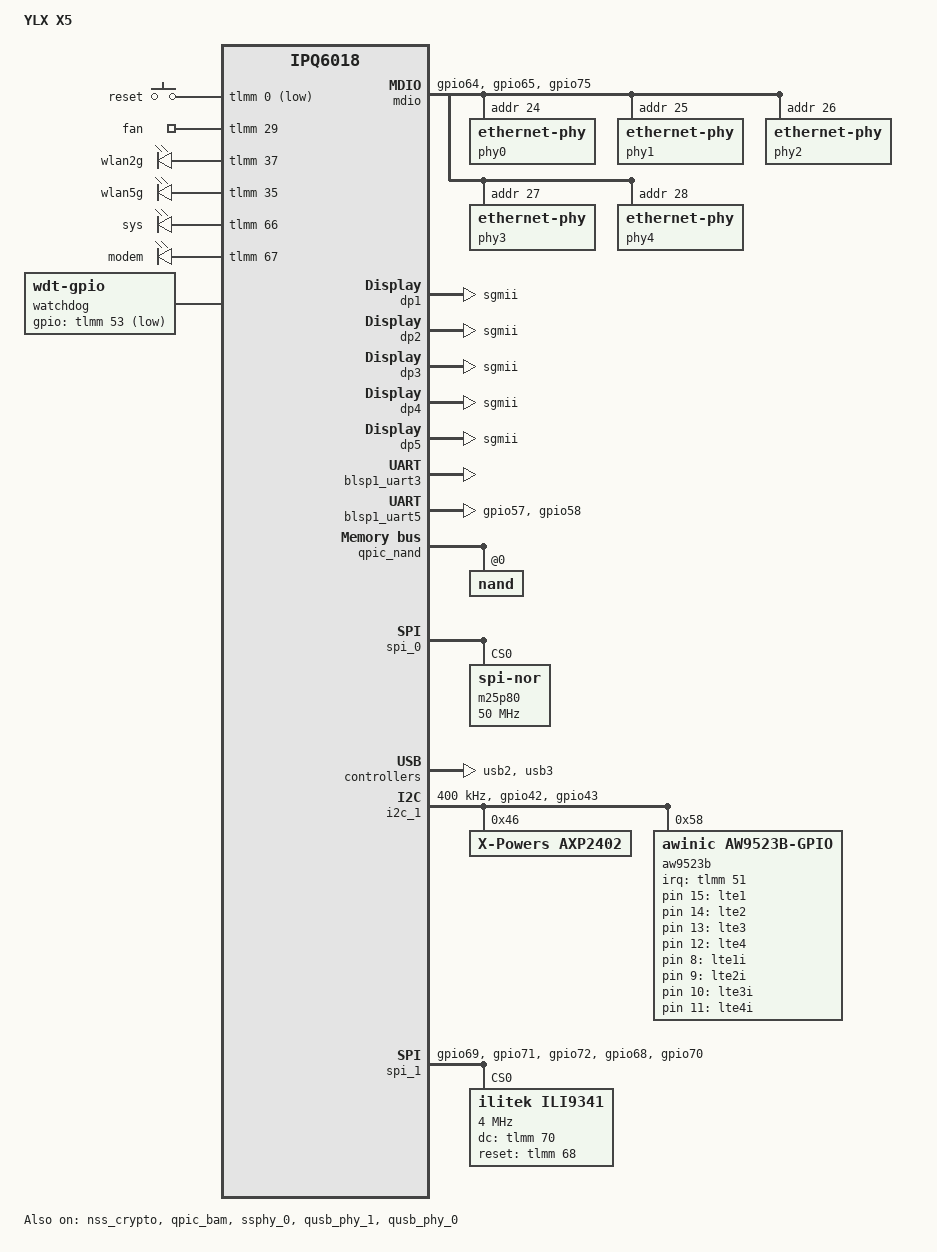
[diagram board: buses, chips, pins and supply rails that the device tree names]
// SPDX-License-Identifier: GPL-2.0-only
/* Copyright (c) 2020 The Linux Foundation. All rights reserved.
 */

/dts-v1/;

#include "ipq6018.dtsi"
#include <dt-bindings/input/input.h>

/ {
	#address-cells = <0x2>;
	#size-cells = <0x2>;
	model = "YLX X5";
	compatible = "ylx,x5", "qcom,ipq6018";
	interrupt-parent = <&intc>;
	qcom,msm-id = <0x1A5 0x0>;

	aliases {
		led-boot = &led_sys;
		led-failsafe = &led_sys;
		led-running = &led_sys;
		led-upgrade = &led_sys;
		serial0 = &blsp1_uart3;
		serial1 = &blsp1_uart2;
		serial2 = &blsp1_uart5;

		ethernet0 = "/soc/dp1";
		ethernet1 = "/soc/dp2";
		ethernet2 = "/soc/dp3";
		ethernet3 = "/soc/dp4";
		ethernet4 = "/soc/dp5";
	};

	chosen {
		stdout-path = "serial0:115200n8";
		bootargs-append = " root=/dev/ubiblock0_1 swiotlb=1 coherent_pool=2M";
	};

	soc {
		mdio:mdio@90000 {
			pinctrl-0 = <&mdio_pins>;
			pinctrl-names = "default";
			phy-reset-gpio = <&tlmm 75 0>;
			status = "ok";

			phy0: ethernet-phy@0 {
				reg = <24>;
			};
			phy1: ethernet-phy@1 {
				reg = <25>;
			};
			phy2: ethernet-phy@2 {
				reg = <26>;
			};
			phy3: ethernet-phy@3 {
				reg = <27>;
			};
			phy4: ethernet-phy@4 {
				reg = <28>;
			};
		};

		ess-switch@3a000000 {
			switch_cpu_bmp = <0x1>;  /* cpu port bitmap */
			switch_lan_bmp = <0x1e>; /* lan port bitmap */
			switch_wan_bmp = <0x20>; /* wan port bitmap */
			switch_inner_bmp = <0xc0>; /*inner port bitmap*/
			switch_mac_mode = <0x0>; /* mac mode for uniphy 0*/
			switch_mac_mode1 = <0xff>; /* mac mode for uniphy 1*/
			switch_mac_mode2 = <0xff>; /* mac mode for uniphy 2*/

			qcom,port_phyinfo {
				port@0 {
					port_id = <1>;
					phy_address = <24>;
				};
				port@1 {
					port_id = <2>;
					phy_address = <25>;
				};
				port@2 {
					port_id = <3>;
					phy_address = <26>;
				};
				port@3 {
					port_id = <4>;
					phy_address = <27>;
				};
				port@4 {
					port_id = <5>;
					phy_address = <28>;
				};
			};
		};

		dp1 {
			device_type = "network";
			compatible = "qcom,nss-dp";
			qcom,id = <1>;
			reg = <0x3a001000 0x200>;
			qcom,mactype = <0>;
			local-mac-address = [000000000000];
			qcom,link-poll = <1>;
			qcom,phy-mdio-addr = <24>;
			phy-mode = "sgmii";
		};

		dp2 {
			device_type = "network";
			compatible = "qcom,nss-dp";
			qcom,id = <2>;
			reg = <0x3a001200 0x200>;
			qcom,mactype = <0>;
			local-mac-address = [000000000000];
			qcom,link-poll = <1>;
			qcom,phy-mdio-addr = <25>;
			phy-mode = "sgmii";
		};

		dp3 {
			device_type = "network";
			compatible = "qcom,nss-dp";
			qcom,id = <3>;
			reg = <0x3a001400 0x200>;
			qcom,mactype = <0>;
			local-mac-address = [000000000000];
			qcom,link-poll = <1>;
			qcom,phy-mdio-addr = <26>;
			phy-mode = "sgmii";
		};

		dp4 {
			device_type = "network";
			compatible = "qcom,nss-dp";
			qcom,id = <4>;
			reg = <0x3a001600 0x200>;
			qcom,mactype = <0>;
			local-mac-address = [000000000000];
			qcom,link-poll = <1>;
			qcom,phy-mdio-addr = <27>;
			phy-mode = "sgmii";
		};

		dp5 {
			device_type = "network";
			compatible = "qcom,nss-dp";
			qcom,id = <5>;
			reg = <0x3a001800 0x200>;
			qcom,mactype = <0>;
			local-mac-address = [000000000000];
			qcom,link-poll = <1>;
			qcom,phy-mdio-addr = <28>;
			phy-mode = "sgmii";
		};

		gpio_keys {
			compatible = "gpio-keys";
			pinctrl-0 = <&button_pins>;
			pinctrl-names = "default";

			reset {
				label = "reset";
				linux,code = <KEY_RESTART>;
				gpios = <&tlmm 0 GPIO_ACTIVE_LOW>;
				linux,input-type = <1>;
				debounce-interval = <60>;
			};
		};

		gpio-export {
			compatible = "gpio-export";
			fan {
				label = "fan";
				gpio-export,name = "fan";
				gpio-export,output = <1>;
				gpios = <&tlmm 29 GPIO_ACTIVE_HIGH>;
			};
			lte1 {
				label = "lte1";
				gpio-export,name = "lte1";
				gpio-export,output = <1>;
				gpios = <&aw9523b 15 GPIO_ACTIVE_HIGH>;
			};
			lte2 {
				label = "lte2";
				gpio-export,name = "lte2";
				gpio-export,output = <1>;
				gpios = <&aw9523b 14 GPIO_ACTIVE_HIGH>;
			};
			lte3 {
				label = "lte3";
				gpio-export,name = "lte3";
				gpio-export,output = <1>;
				gpios = <&aw9523b 13 GPIO_ACTIVE_HIGH>;
			};
			lte4 {
				label = "lte4";
				gpio-export,name = "lte4";
				gpio-export,output = <1>;
				gpios = <&aw9523b 12 GPIO_ACTIVE_HIGH>;
			};
			lte1i {
				label = "lte1i";
				gpio-export,name = "lte1i";
				gpio-export,output = <1>;
				gpios = <&aw9523b 8 GPIO_ACTIVE_HIGH>;
			};
			lte2i {
				label = "lte2i";
				gpio-export,name = "lte2i";
				gpio-export,output = <1>;
				gpios = <&aw9523b 9 GPIO_ACTIVE_HIGH>;
			};
			lte3i {
				label = "lte3i";
				gpio-export,name = "lte3i";
				gpio-export,output = <1>;
				gpios = <&aw9523b 10 GPIO_ACTIVE_HIGH>;
			};
			lte4i {
				label = "lte4i";
				gpio-export,name = "lte4i";
				gpio-export,output = <1>;
				gpios = <&aw9523b 11 GPIO_ACTIVE_HIGH>;
			};
		};

		leds {
			compatible = "gpio-leds";
			pinctrl-0 = <&leds_pins>;
			pinctrl-names = "default";

			wlan2g {
				label = "wlan2g";
				gpios = <&tlmm 37 GPIO_ACTIVE_HIGH>;
			};

			wlan5g {
				label = "wlan5g";
				gpios = <&tlmm 35 GPIO_ACTIVE_HIGH>;
			};

			led_sys: sys {
				label = "sys";
				gpios = <&tlmm 66 GPIO_ACTIVE_HIGH>;
			};

			modem {
				label = "modem";
				gpios = <&tlmm 67 GPIO_ACTIVE_HIGH>;
			};
		};

		watchdog {
			compatible = "linux,wdt-gpio";
			gpios = <&tlmm 53 GPIO_ACTIVE_LOW>;
			pinctrl-0 = <&wdt_pins>;
			pinctrl-names = "default";
			hw_algo = "toggle";
			hw_margin_ms = <1600>;
			always-running;
		};

		sd-pwrseq {
			/delete-property/ reset-gpios;
			status = "disabled";
		};
	};
};

&tlmm {
	button_pins: button_pins {
		reset_button {
			pins = "gpio0";
			function = "gpio";
			drive-strength = <8>;
			bias-pull-up;
		};
	};

	i2c_1_pins: i2c_1_pins {
		mux {
			pins = "gpio42", "gpio43";
			function = "blsp2_i2c";
			drive-strength = <8>;
			bias-pull-down;
		};
	};

	spi_1_pins: spi_1_pins {
		mux {
			pins = "gpio69", "gpio71", "gpio72";
			function = "blsp1_spi";
			drive-strength = <8>;
			bias-pull-down;
		};
		mux2 {
			pins = "gpio68","gpio70";
			function = "gpio";
			drive-strength = <8>;
			bias-pull-down;
		};
	};

	axp2402_irq: axp2402_irq {
		mux{
			pins = "gpio33";
			function = "gpio";
			drive-strength = <8>;
			bias-disable;
		};
	};

	aw9523_irq: aw9523_irq {
		mux {
			pins = "gpio51";
			function = "gpio";
			drive-strength = <8>;
			bias-disable;
		};
	};

	mdio_pins: mdio_pinmux {
		mux_0 {
			pins = "gpio64";
			function = "mdc";
			drive-strength = <8>;
			bias-pull-up;
		};
		mux_1 {
			pins = "gpio65";
			function = "mdio";
			drive-strength = <8>;
			bias-pull-up;
		};
		mux_2 {
			pins = "gpio75";
			function = "gpio";
			bias-pull-up;
		};
	};

	// uart2_pins: uart2_pins {
	// 	mux {
	// 		pins = "gpio71", "gpio72";
	// 		function = "blsp1_uart";
	// 		drive-strength = <8>;
	// 		bias-disable;
	// 	};
	// };

	hsuart_pins: hsuart_pins {
		mux {
			pins = "gpio57", "gpio58";
			function = "blsp4_uart";
			drive-strength = <8>;
			bias-disable;
		};
	};

	wdt_pins: wdt_pins {
		mux {
			pins = "gpio53";
			function = "gpio";
			drive-strength = <8>;
			bias-disable;
			output-high;
		};
	};

	leds_pins: leds_pins {
		wlan2g {
			pins = "gpio37";
			function = "gpio";
			drive-strength = <8>;
			bias-pull-down;
		};

		wlan5g {
			pins = "gpio35";
			function = "gpio";
			drive-strength = <8>;
			bias-pull-down;
		};

		sys {
			pins = "gpio66";
			function = "gpio";
			drive-strength = <8>;
			bias-pull-down;
		};

		modem {
			pins = "gpio67";
			function = "gpio";
			drive-strength = <8>;
			bias-pull-down;
		};
	};
};

// &blsp1_uart2 {
// 	pinctrl-0 = <&uart2_pins>;
// 	pinctrl-names = "default";
// 	dmas = <&blsp_dma 2>,
// 		<&blsp_dma 3>;
// 	dma-names = "tx", "rx";
// 	status = "ok";
// };

&blsp1_uart3 {
	pinctrl-0 = <&serial_3_pins>;
	pinctrl-names = "default";
	status = "ok";
};

&blsp1_uart5 {
	pinctrl-0 = <&hsuart_pins>;
	pinctrl-names = "default";
	dmas = <&blsp_dma 8>,
		<&blsp_dma 9>;
	dma-names = "tx", "rx";
	status = "ok";
};

&nss_crypto {
	status = "ok";
};

&qpic_bam {
	status = "ok";
};

&qpic_nand {
	status = "ok";

	nand@0 {
		reg = <0>;
		#address-cells = <1>;
		#size-cells = <1>;

		nand-ecc-strength = <4>;
		nand-ecc-step-size = <512>;
		nand-bus-width = <8>;
	};
};


&spi_0 {
	cs-select = <0>;
	status = "ok";

	m25p80@0 {
		compatible = "jedec,spi-nor", "n25q128a11";
		#address-cells = <1>;
		#size-cells = <1>;
		reg = <0>;
		spi-max-frequency = <50000000>;
	};
};

&ssphy_0 {
	status = "ok";
};

&qusb_phy_1{
	status = "ok";
};

&qusb_phy_0 {
	status = "ok";
};

&usb2 {
	status = "ok";
};

&usb3 {
	status = "ok";
};

&CPU0 {
	operating-points = <
		/* kHz   uV (fixed) */
		864000   1100000
		1056000  1100000
		1320000  1100000
		1440000  1100000
		1608000  1100000
		1800000  1100000
	>;
	clock-latency = <200000>;
};

&CPU1 {
	operating-points = <
		/* kHz   uV (fixed) */
		864000   1100000
		1056000  1100000
		1320000  1100000
		1440000  1100000
		1608000  1100000
		1800000  1100000
	>;
	clock-latency = <200000>;
};

&CPU2 {
	operating-points = <
		/* kHz   uV (fixed) */
		864000   1100000
		1056000  1100000
		1320000  1100000
		1440000  1100000
		1608000  1100000
		1800000  1100000
	>;
	clock-latency = <200000>;
};

&CPU3 {
	operating-points = <
		/* kHz   uV (fixed) */
		864000   1100000
		1056000  1100000
		1320000  1100000
		1440000  1100000
		1608000  1100000
		1800000  1100000
	>;
	clock-latency = <200000>;
};

&i2c_1 {
	pinctrl-0 = <&i2c_1_pins>;
	pinctrl-names = "default";
	clock-frequency  = <400000>;
	status = "ok";
	axp2402@46{
			compatible = "X-Powers, axp2402";
			reg = <0x46>;
			status = "ok";
			axp2402-charger{
				compatible = "X-Powers, axp2402-charger";
				pinctrl-0 = <&axp2402_irq>;
				pinctrl-names = "default";
				irqpin-gpios = <&tlmm 33 GPIO_ACTIVE_LOW>;
				ichg_cc = <1536>;			//最大充电电流
				idpm = <3072>;				//最大输入电流
				chg_target_voltage = <8440>;	//电池电压
				vsys_min=<5400>;         //设置放电保护电压
				battery_max_capacity = <15000>;	//电池最大容量
				status = "ok";
				};
			};

			aw9523b: gpio-expander@58 {
				compatible = "awinic,aw9523b-gpio";
				reg = <0x58>;
				pinctrl-names = "default";
				pinctrl-0 = <&aw9523_irq>;
				interrupt-parent = <&tlmm>;
				interrupts = <51 IRQ_TYPE_LEVEL_LOW>;
				gpio-controller;
				#gpio-cells = <2>;
				interrupt-controller;
				#interrupt-cells = <2>;
				wakeup-source;
			};
};

&spi_1 { /* BLSP1 QUP1 */
	pinctrl-0 = <&spi_1_pins>;
	pinctrl-names = "default";
	cs-select = <0>;
	status = "ok";
	ili9341@0 {
		#address-cells = <1>;
		#size-cells = <1>;
		compatible = "ilitek,ili9341";
		reg = <0>;
		spi-max-frequency = <4000000>;
		//txbuflen = <16>;
		rotate = <270>;
		bgr;
		fps = <10>;
		buswidth = <8>;
		// dc-gpios = <&tlmm 70 GPIO_ACTIVE_LOW>;
		// reset-gpios = <&tlmm 68 GPIO_ACTIVE_LOW>;
		dc-gpios = <&tlmm 70 GPIO_ACTIVE_HIGH>;
		reset-gpios  = <&tlmm 68 GPIO_ACTIVE_HIGH>;
		debug = <0>;
	};
	// st7789v@0 {
	// 	#address-cells = <1>;
	// 	#size-cells = <1>;
	// 	compatible = "sitronix,st7789v";
	// 	reg = <0>;
	// 	spi-max-frequency = <2000000>;
	// 	// txbuflen = <16>;
	// 	rotate = <270>;
	// 	bgr;
	// 	fps = <5>;
	// 	buswidth = <8>;
	// 	dc-gpios = <&tlmm 70 GPIO_ACTIVE_LOW>;
	// 	reset-gpios = <&tlmm 68 GPIO_ACTIVE_LOW>;
	// 	debug = <0>;
	// 	gamma = "d0,00,02,07,0b,1a,31,54,40,29,12,12,12,17;d0,00,02,07,05,25,2d,44,45,1c,18,16,1c,1d";
	// 	};
};

&rpm_glink {
	status = "disabled";
};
